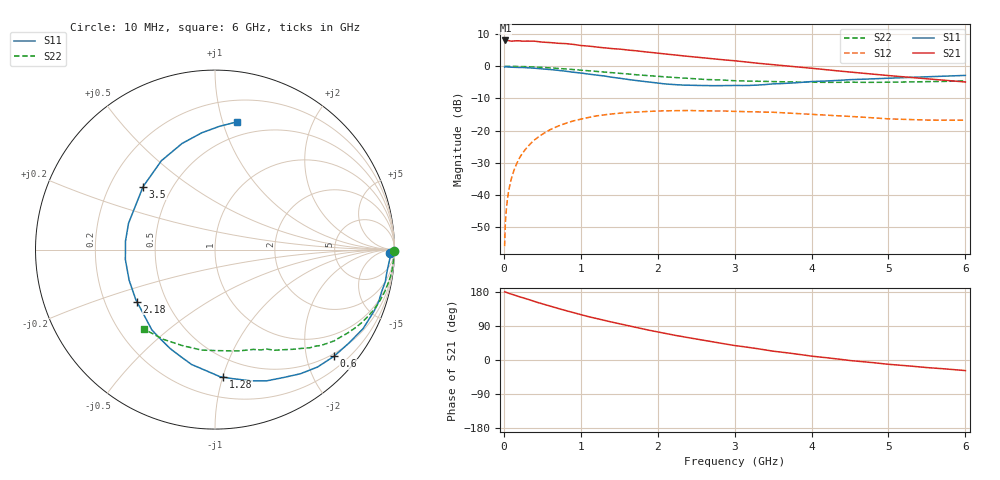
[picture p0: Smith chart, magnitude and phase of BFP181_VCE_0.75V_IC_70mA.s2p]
! Infineon Technologies  Discrete & RF Semiconductors
! BFP181
! VCE = 0.75V,  IC =  70 mA
! Common Emitter S-Parameters:  Jan 2016
# GHz  S  MA  R  50
!  f  S11  S21  S12  S22
! GHz  MAG  ANG  MAG  ANG  MAG  ANG  MAG  ANG
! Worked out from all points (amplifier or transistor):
!   210 points, 10 MHz to 6 GHz, reference 50 ohm
!   highest |S21| = 8.0 dB at 20 MHz (marker M1)
!   |S21| within 3 dB of that: start of sweep to 1.62 GHz
!   unconditionally stable (mu >= 1): 3.095 GHz to end of sweep
!   at 185 MHz: K = 0.07, MSG = 18.6 dB, |S12| = -29.4 dB
!   at 1.52 GHz: K = 0.53, MSG = 9.9 dB, |S12| = -14.6 dB
!   at 6 GHz: K = 1.50, MAG = 1.7 dB, |S12| = -16.8 dB
!   S11 on the Smith chart (normalised r, x): 10 MHz: 52, -33; 600 MHz: 0.44, -2.55; 1.28 GHz: 0.35, -1.00; 2.18 GHz: 0.34, -0.27; 3.5 GHz: 0.34, +0.34; 6 GHz: 0.38, +1.11
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0.01  0.9727 -1.0  2.483 179.7  0.0016 82.1  0.9984 -0.3
0.02  0.9802 -1.5  2.517 179.4  0.0037 89.1  0.9967 -0.7
0.04  0.9759 -2.8  2.516 177.7  0.0074 89.4  0.9972 -1.4
0.07  0.9703 -4.9  2.491 175.6  0.0128 86.1  0.9971 -2.5
0.115  0.9654 -8.2  2.464 172.7  0.021 83.0  0.9959 -4.1
0.18  0.9604 -12.7  2.486 168.5  0.0331 81.0  0.993 -6.5
0.28  0.9523 -19.9  2.457 162.4  0.0511 76.3  0.9857 -10.0
0.4  0.9352 -28.1  2.453 154.2  0.0719 70.5  0.9735 -14.2
0.6  0.8908 -41.8  2.338 142.2  0.1031 61.1  0.946 -20.9
0.8  0.8395 -55.5  2.25 130.6  0.1296 52.4  0.911 -26.8
1.02  0.7792 -69.8  2.094 118.8  0.1525 43.4  0.8665 -33.0
1.28  0.7119 -86.4  1.947 105.9  0.1743 34.0  0.8191 -39.4
1.5  0.6534 -101.5  1.855 95.4  0.1859 27.3  0.7761 -43.9
1.8  0.5846 -120.9  1.694 82.1  0.1968 19.5  0.7257 -49.4
2.02  0.5441 -135.3  1.588 73.2  0.2025 14.1  0.6959 -53.0
2.18  0.523 -146.4  1.517 66.8  0.2033 10.2  0.6736 -55.9
2.62  0.5013 -174.8  1.342 51.2  0.2024 1.9  0.6235 -62.8
3.1  0.5019 158.1  1.181 35.6  0.1975 -6.1  0.5918 -70.5
3.5  0.5326 138.8  1.061 23.3  0.1929 -11.0  0.5795 -77.0
4.1  0.5836 118.2  0.905 8.1  0.177 -16.7  0.563 -89.0
5.1  0.6604 94.6  0.7 -12.9  0.1509 -19.5  0.5657 -111.2
6  0.7212 80.4  0.569 -27.9  0.145 -15.1  0.5931 -131.5
